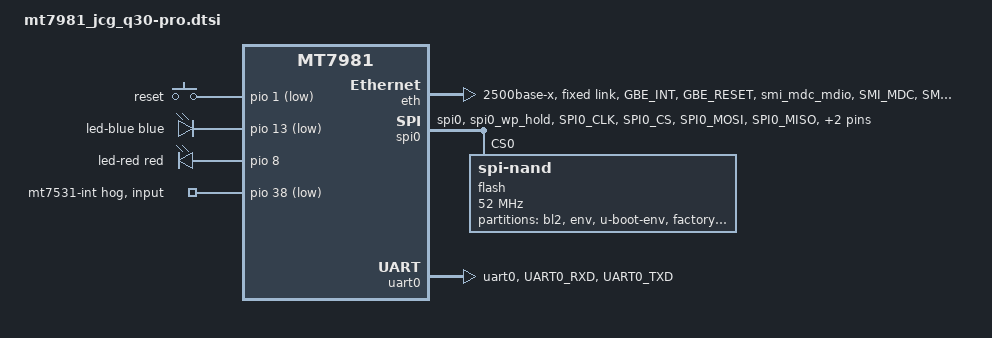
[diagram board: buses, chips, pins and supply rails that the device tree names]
// SPDX-License-Identifier: GPL-2.0-or-later OR MIT

/dts-v1/;

#include <dt-bindings/gpio/gpio.h>
#include <dt-bindings/input/input.h>
#include <dt-bindings/leds/common.h>
#include <dt-bindings/pinctrl/mt65xx.h>

#include "mt7981.dtsi"

/ {
	aliases {
		serial0 = &uart0;
	};

	chosen {
		stdout-path = "serial0:115200n8";
		tick-timer = &timer0;
	};

	gpio-keys {
		compatible = "gpio-keys";
		pinctrl-names = "default";
		pinctrl-0 = <&keys_pins>;

		button-reset {
			label = "reset";
			linux,code = <KEY_RESTART>;
			gpios = <&pio 1 GPIO_ACTIVE_LOW>;
		};
	};

	gpio-leds {
		compatible = "gpio-leds";
		pinctrl-names = "default";
		pinctrl-0 = <&leds_pins>;

		led-blue {
			color = <LED_COLOR_ID_BLUE>;
			function = LED_FUNCTION_STATUS;
			gpios = <&pio 13 GPIO_ACTIVE_LOW>;
			default-state = "on";
		};

		led-red {
			color = <LED_COLOR_ID_RED>;
			function = LED_FUNCTION_STATUS;
			gpios = <&pio 8 GPIO_ACTIVE_HIGH>;
			default-state = "off";
		};
	};

	options {
		u-boot {
			compatible = "u-boot,config";
			boot-btn1 = "reset";
			boot-led1 = "blue:status";
			boot-led2 = "red:status";
			bootcmd_1-1 = "tftp_boot_ik";
			bootcmd_1-2 = "tftp_update_fw";
			bootcmd_1-3 = "switch_console";
			bootcmd_1-4 = "env init";
		};
	};

	reserved-memory {
		#address-cells = <1>;
		#size-cells = <1>;
		ranges;

		ramoops@42ff0000 {
			compatible = "ramoops";
			reg = <0x42ff0000 0x00010000>;
			console-size = <0x8000>;
			record-size = <0x2000>;
		};

		secmon@43000000 {
			reg = <0x43000000 0x00030000>;
			no-map;
		};
	};
};

&eth {
	mediatek,gmac-id = <0>;
	mediatek,switch = "mt7531";
	phy-mode = "2500base-x";
	pinctrl-names = "default";
	pinctrl-0 = <&gbe_pins>, <&mdio_pins>;
	reset-gpios = <&pio 39 GPIO_ACTIVE_HIGH>;
	status = "okay";

	fixed-link {
		speed = <2500>;
		full-duplex;
	};
};

&pio {
	gbe_pins: gbe-pins {
		conf-int {
			bias-disable;
			input-enable;
			input-schmitt-enable;
			drive-strength = <MTK_DRIVE_2mA>;
			pins = "GBE_INT";
		};

		conf-rst {
			bias-disable;
			output-enable;
			drive-strength = <MTK_DRIVE_4mA>;
			pins = "GBE_RESET";
		};
	};

	keys_pins: keys-pins {
		conf {
			bias-disable;
			input-enable;
			input-schmitt-enable;
			drive-strength = <MTK_DRIVE_2mA>;
			pins = "GPIO_RESET";
		};
	};

	leds_pins: leds-pins {
		conf {
			bias-disable;
			output-enable;
			drive-strength = <MTK_DRIVE_4mA>;
			pins = "JTAG_JTRST_N", "WO_JTAG_JTRST_N";
		};
	};

	mdio_pins: mdc-mdio-pins {
		mux {
			function = "eth";
			groups = "smi_mdc_mdio";
		};

		conf-clk {
			bias-disable;
			output-enable;
			drive-strength = <MTK_DRIVE_4mA>;
			pins = "SMI_MDC";
		};

		conf-io {
			bias-disable;
			input-enable;
			drive-strength = <MTK_DRIVE_4mA>;
			pins = "SMI_MDIO";
		};
	};

	spi0_pins: spi0-pins {
		mux {
			function = "spi";
			groups = "spi0", "spi0_wp_hold";
		};

		conf-clk-cs {
			bias-disable;
			output-enable;
			drive-strength = <MTK_DRIVE_4mA>;
			pins = "SPI0_CLK", "SPI0_CS";
		};

		conf-dat {
			bias-disable;
			input-enable;
			drive-strength = <MTK_DRIVE_4mA>;
			pins = "SPI0_MOSI", "SPI0_MISO", "SPI0_HOLD", "SPI0_WP";
		};
	};

	uart0_pins: uart0-pins {
		mux {
			function = "uart";
			groups = "uart0";
		};

		conf-rx {
			bias-disable;
			input-enable;
			input-schmitt-enable;
			drive-strength = <MTK_DRIVE_2mA>;
			pins = "UART0_RXD";
		};

		conf-tx {
			bias-disable;
			output-enable;
			drive-strength = <MTK_DRIVE_4mA>;
			pins = "UART0_TXD";
		};
	};

	mt7531-int {
		gpio-hog;
		gpios = <38 GPIO_ACTIVE_LOW>;
		input;
	};
};

&spi0 {
	compatible = "mediatek,spi-ipm";
	#address-cells = <1>;
	#size-cells = <0>;
	clocks = <&topckgen CLK_TOP_CB_M_D2>,
		 <&topckgen CLK_TOP_SPI_SEL>,
		 <&infracfg CLK_INFRA_SPI0_CK>,
		 <&infracfg CLK_INFRA_SPI0_HCK_CK>;
	clock-names = "parent-clk", "sel-clk", "spi-clk", "hclk";
	pinctrl-names = "default";
	pinctrl-0 = <&spi0_pins>;
	status = "okay";

	flash@0 {
		compatible = "spi-nand";
		reg = <0>;
		spi-max-frequency = <52000000>;
		spi-rx-bus-width = <4>;
		spi-tx-bus-width = <4>;

		partitions {
			compatible = "fixed-partitions";
			#address-cells = <1>;
			#size-cells = <1>;

			partition@0 {
				label = "bl2";
				reg = <0x0000000 0x0080000>;
			};

			partition@80000 {
				label = "env";
				reg = <0x0080000 0x0080000>;
			};

			partition@100000 {
				label = "u-boot-env";
				reg = <0x0100000 0x0080000>;
			};

			partition@180000 {
				label = "factory";
				reg = <0x0180000 0x0200000>;
			};

			partition@380000 {
				label = "fip";
				reg = <0x0380000 0x0200000>;
			};

			partition@580000 {
				label = "ubi";
				reg = <0x0580000 0x7000000>;
			};

			partition@7580000 {
				label = "reserve";
				reg = <0x7580000 0x0a80000>;
			};
		};
	};
};

&u2port0 {
	status = "disabled";
};

&u3port0 {
	status = "disabled";
};

&uart0 {
	pinctrl-names = "default";
	pinctrl-0 = <&uart0_pins>;
	status = "okay";
};

&usbtphy {
	status = "disabled";
};

&xhci {
	/delete-property/ mediatek,u3p-dis-msk;
	status = "disabled";
};
